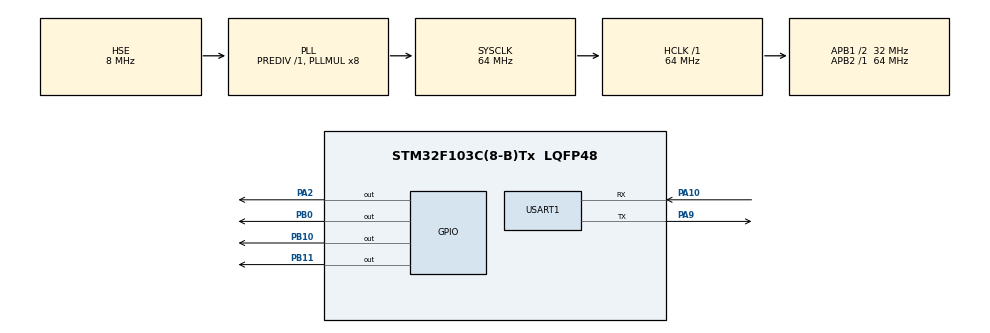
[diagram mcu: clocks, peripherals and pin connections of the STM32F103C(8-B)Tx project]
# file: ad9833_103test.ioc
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Mcu.Family=STM32F1
Mcu.Name=STM32F103C(8-B)Tx
Mcu.Package=LQFP48
NVIC.PriorityGroup=NVIC_PRIORITYGROUP_4
NVIC.TIM4_IRQn=true\:0\:0\:false\:false\:true\:true\:true\:true
NVIC.USART1_IRQn=true\:0\:0\:false\:false\:true\:true\:true\:true
PA10.Mode=Asynchronous
PA10.Signal=USART1_RX
PA13.Mode=Serial_Wire
PA13.Signal=SYS_JTMS-SWDIO
PA14.Mode=Serial_Wire
PA14.Signal=SYS_JTCK-SWCLK
PA2.Signal=GPIO_Output
PA9.Mode=Asynchronous
PA9.Signal=USART1_TX
PB0.Signal=GPIO_Output
PB10.Signal=GPIO_Output
PB11.Signal=GPIO_Output
PD0-OSC_IN.Mode=HSE-External-Oscillator
PD0-OSC_IN.Signal=RCC_OSC_IN
PD1-OSC_OUT.Mode=HSE-External-Oscillator
PD1-OSC_OUT.Signal=RCC_OSC_OUT
ProjectManager.HeapSize=0x200
ProjectManager.StackSize=0x400
ProjectManager.TargetToolchain=MDK-ARM V5.32
RCC.AHBFreq_Value=64000000
RCC.APB1CLKDivider=RCC_HCLK_DIV2
RCC.APB1Freq_Value=32000000
RCC.APB1TimFreq_Value=64000000
RCC.APB2Freq_Value=64000000
RCC.APB2TimFreq_Value=64000000
RCC.HCLKFreq_Value=64000000
RCC.PLLMUL=RCC_PLL_MUL8
RCC.PLLSourceVirtual=RCC_PLLSOURCE_HSE
RCC.SYSCLKFreq_VALUE=64000000
RCC.SYSCLKSource=RCC_SYSCLKSOURCE_PLLCLK
RCC.USBFreq_Value=64000000
TIM4.Period=4999
TIM4.Prescaler=6399
USART1.VirtualMode=VM_ASYNC
VP_TIM1_VS_ClockSourceINT.Mode=Internal
VP_TIM4_VS_ClockSourceINT.Mode=Internal
board=custom

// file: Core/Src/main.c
/* USER CODE BEGIN Header */
/**
  ******************************************************************************
  * @file           : main.c
  * @brief          : Main program body
  ******************************************************************************
  * @attention
  *
  * Copyright (c) 2023 STMicroelectronics.
  * All rights reserved.
  *
  * This software is licensed under terms that can be found in the LICENSE file
  * in the root directory of this software component.
  * If no LICENSE file comes with this software, it is provided AS-IS.
  *
  ******************************************************************************
  */
/* USER CODE END Header */
#include "main.h"
#include "tim.h"
#include "usart.h"
#include "gpio.h"

/* USER CODE BEGIN Includes */
#include "stdio.h"
#include "ad9833.h"
#include <stdbool.h>

/* USER CODE END Includes */

/* USER CODE BEGIN PM */
int fputc(int ch, FILE *f)

{

  HAL_UART_Transmit(&huart1, (uint8_t *)&ch, 1, 0xffff);

  return ch;

}

int fgetc(FILE *f)
{
  uint8_t ch = 0;
  HAL_UART_Receive(&huart1, &ch, 1, 0xffff);
  return ch;
}

/* USER CODE END PM */

/* USER CODE BEGIN PV */
uint32_t rx_data[10];
uint32_t buf[1];
int num = 0;
int flag = 0;
int i=0;
int test=1;
uint32_t freq;

uint8_t RxBuffer[8];
uint8_t fre0=0;//通道0的频率
uint8_t fre1=0;//通道1的频率

uint8_t mod0=0;//通道0的波形
uint8_t mod1=0;//通道0的波形
// 0是正弦 1是三角
 bool freflag=0;
 double frearr[2]={10.73,10.74};
 double freletter;
/* USER CODE END PV */

void SystemClock_Config(void);

/* USER CODE BEGIN 0 */
//void HAL_UART_RxCpltCallback(UART_HandleTypeDef *huart){
//	if(huart==&huart1){
//		if(RxBuffer[0]==0xff&&RxBuffer[1]==0xff&&RxBuffer[2]==0xff&&RxBuffer[3]==0xff){
//			//AD9833_WaveSeting(2000.0,0,SIN_WAVE,0,0);
//			fre0=RxBuffer[4]*1000;
//			fre1=RxBuffer[5]*1000;
//			mod0=RxBuffer[6];
//			mod1=RxBuffer[7];
//			//通道0输出
//			if(mod0==0)AD9833_WaveSeting(fre0,0,SIN_WAVE,0,0);//正弦
//			if(mod0==1)AD9833_WaveSeting(fre0,0,TRI_WAVE,0,0);//三角

//			//通道1输出
//			if(mod1==0)AD9833_WaveSeting(fre1,0,SIN_WAVE,0,1);//正弦
//			if(mod1==1)AD9833_WaveSeting(fre1,0,TRI_WAVE,0,1);//三角
//		}
//	}
//}
void HAL_TIM_PeriodElapsedCallback(TIM_HandleTypeDef *htim){
	if(htim==&htim4){
		freflag=!freflag;
		freletter=frearr[freflag];
	}
}
/* USER CODE END 0 */

int main(void)
{

  /* MCU Configuration--------------------------------------------------------*/

  /* Reset of all peripherals, Initializes the Flash interface and the Systick. */
  HAL_Init();

  /* Configure the system clock */
  SystemClock_Config();

  /* Initialize all configured peripherals */
  MX_GPIO_Init();
  MX_USART1_UART_Init();
  MX_TIM1_Init();
  MX_TIM4_Init();
  /* USER CODE BEGIN 2 */
	HAL_UART_Receive_IT(&huart1,RxBuffer,8);
	///////////////////////////////////////////////////////////////////////
	AD9833_WaveSeting_Double(1000, 0, SIN_WAVE, 0);

	   freletter=10.73;
  /* USER CODE END 2 */

  /* Infinite loop */
  while (1)
  {

  }
}

void SystemClock_Config(void)
{
  RCC_OscInitTypeDef RCC_OscInitStruct = {0};
  RCC_ClkInitTypeDef RCC_ClkInitStruct = {0};

  /** Initializes the RCC Oscillators according to the specified parameters
  * in the RCC_OscInitTypeDef structure.
  */
  RCC_OscInitStruct.OscillatorType = RCC_OSCILLATORTYPE_HSE;
  RCC_OscInitStruct.HSEState = RCC_HSE_ON;
  RCC_OscInitStruct.HSEPredivValue = RCC_HSE_PREDIV_DIV1;
  RCC_OscInitStruct.HSIState = RCC_HSI_ON;
  RCC_OscInitStruct.PLL.PLLState = RCC_PLL_ON;
  RCC_OscInitStruct.PLL.PLLSource = RCC_PLLSOURCE_HSE;
  RCC_OscInitStruct.PLL.PLLMUL = RCC_PLL_MUL8;
  if (HAL_RCC_OscConfig(&RCC_OscInitStruct) != HAL_OK)
  {
    Error_Handler();
  }

  /** Initializes the CPU, AHB and APB buses clocks
  */
  RCC_ClkInitStruct.ClockType = RCC_CLOCKTYPE_HCLK|RCC_CLOCKTYPE_SYSCLK
                              |RCC_CLOCKTYPE_PCLK1|RCC_CLOCKTYPE_PCLK2;
  RCC_ClkInitStruct.SYSCLKSource = RCC_SYSCLKSOURCE_PLLCLK;
  RCC_ClkInitStruct.AHBCLKDivider = RCC_SYSCLK_DIV1;
  RCC_ClkInitStruct.APB1CLKDivider = RCC_HCLK_DIV2;
  RCC_ClkInitStruct.APB2CLKDivider = RCC_HCLK_DIV1;

  if (HAL_RCC_ClockConfig(&RCC_ClkInitStruct, FLASH_LATENCY_2) != HAL_OK)
  {
    Error_Handler();
  }
}

/* USER CODE BEGIN 4 */

//void HAL_UART_RxCpltCallback(UART_HandleTypeDef *huart){
//    //printf("num = %d", num);
//    //rx_data[num++] = buf[0];
//    //num = num%10;
//    /*
//    for(i=0;i<10;i++){
//        printf("data[%d] = %d", i, rx_data[i]);
//    }
//    */
//    /*
//    printf("recieve num0 %d\r\n",rx_data[0] );
//    printf("recieve num1 %d\r\n",rx_data[1] );
//    printf("recieve num2 %d\r\n",rx_data[2] );*/
//    /*
//    if(num>0){
//        HAL_UART_Receive_IT(&huart1, (uint8_t *)buf, 1);
//        //HAL_UART_Receive_IT(&huart1, (uint8_t *)rx_data, 10);
//    }
//    else {
//        flag = 1;
//    }*/
//}

/* USER CODE END 4 */

void Error_Handler(void)
{
  __disable_irq();
  while (1)
  {
  }
}
